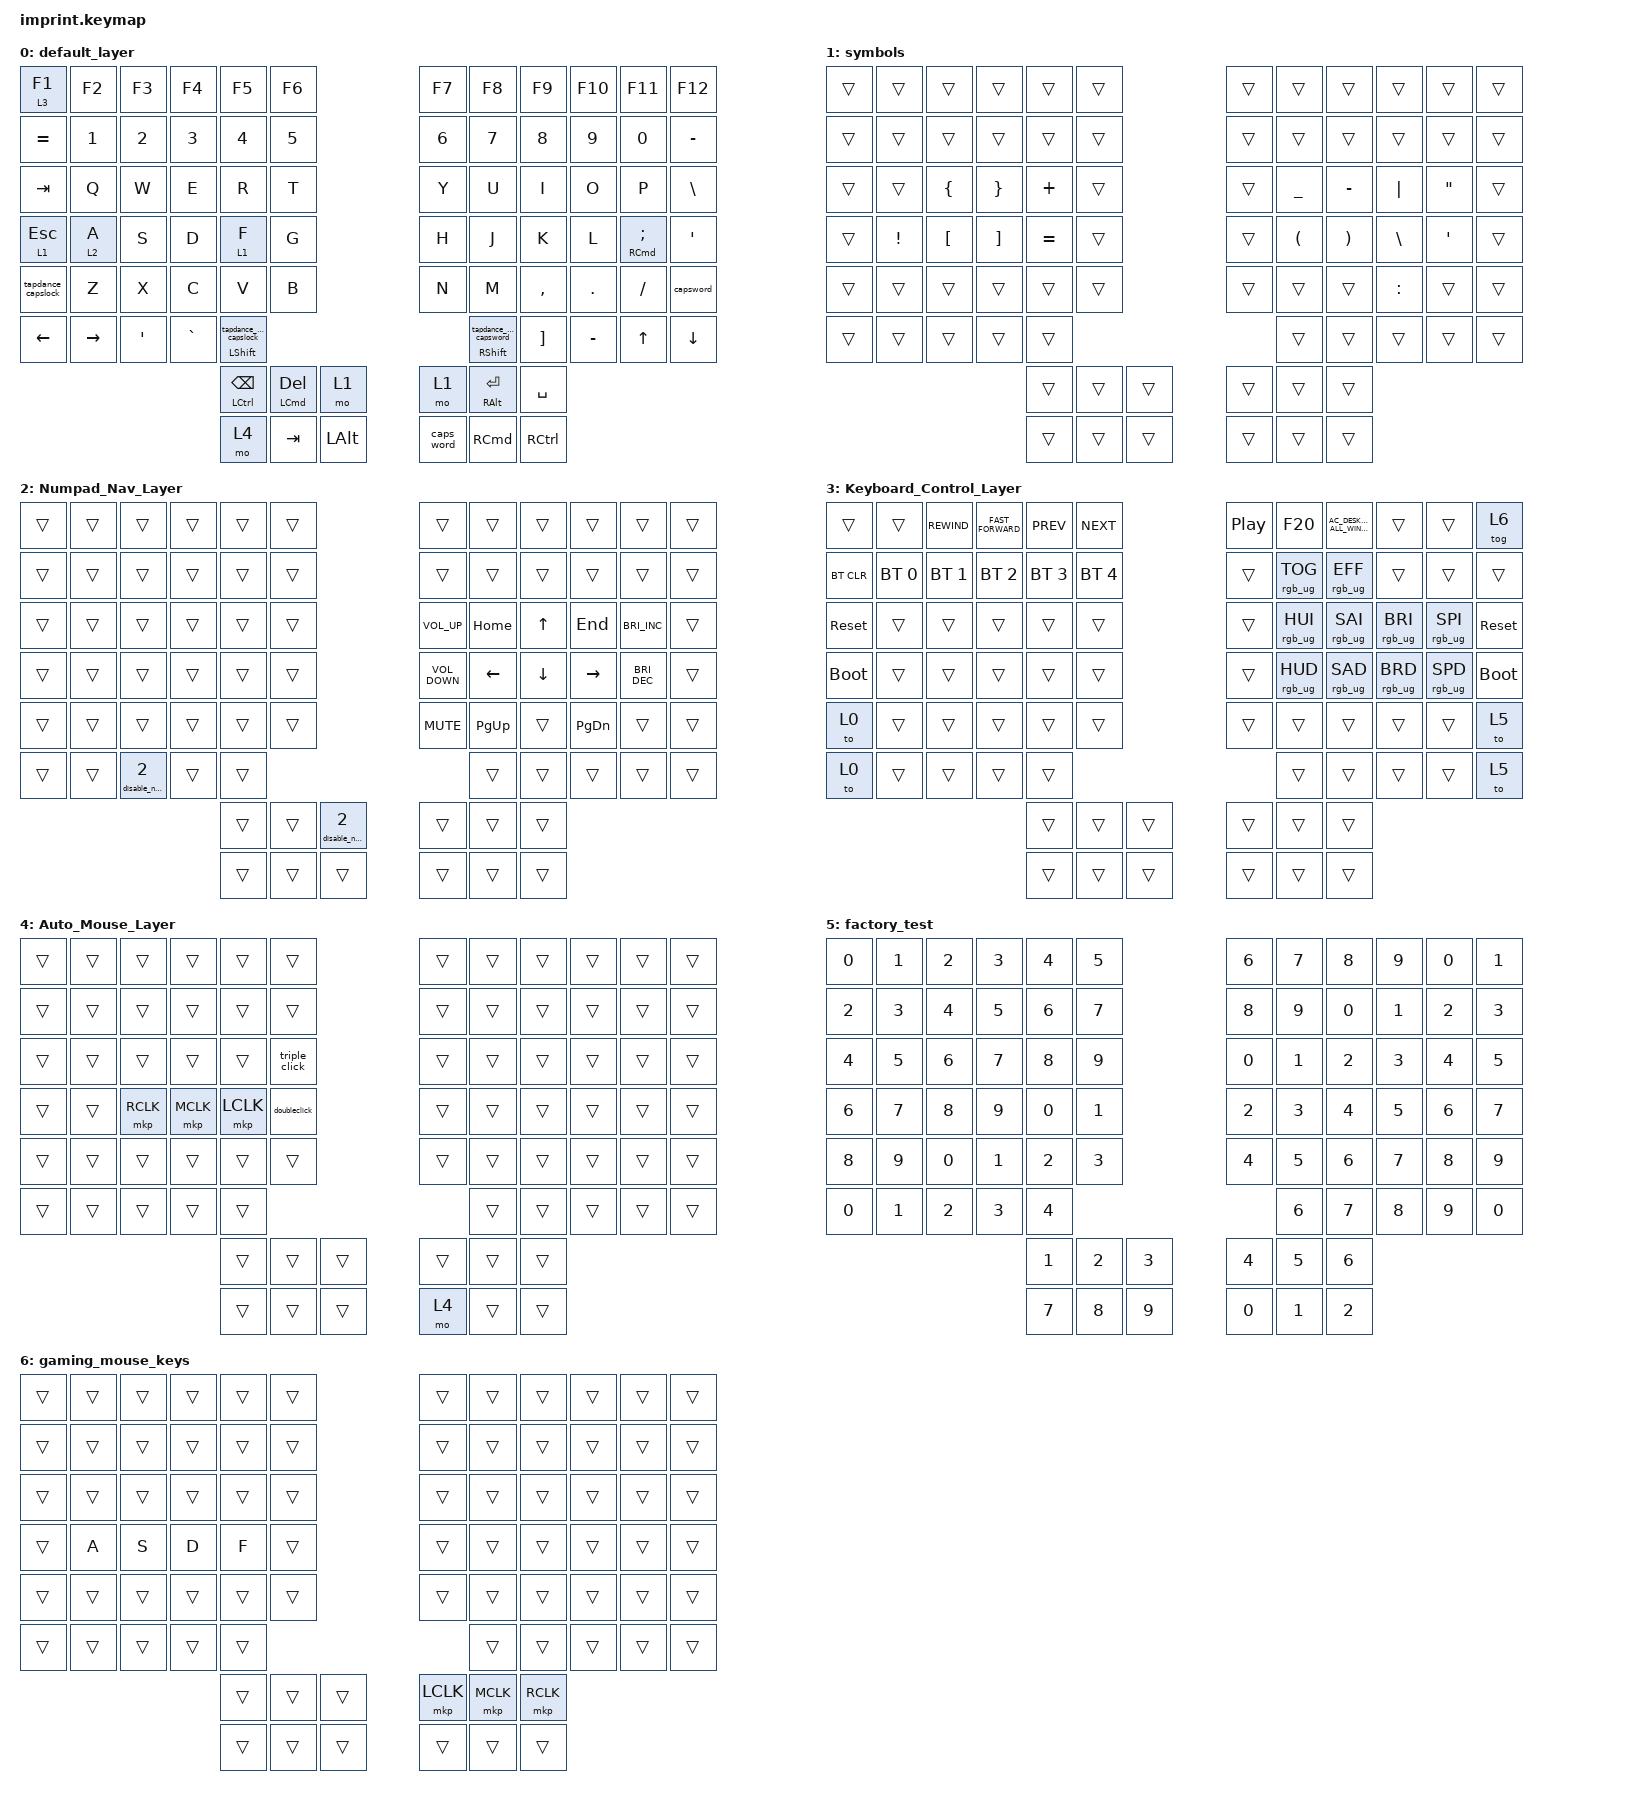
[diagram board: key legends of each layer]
#include <input/processors.dtsi>
#include <dt-bindings/zmk/input_transform.h>
#include <behaviors.dtsi>
#include <dt-bindings/zmk/bt.h>
#include <dt-bindings/zmk/keys.h>
#include <dt-bindings/zmk/pointing.h>
#include <dt-bindings/zmk/rgb.h>

/ {
    chosen { zmk,matrix-transform = &imprint_function_row_full_bottom_row; };

    behaviors {
        capsword: capsword {
            compatible = "zmk,behavior-tap-dance";
            label = "CAPSWORD";
            #binding-cells = <0>;
            bindings = <&kp LEFT_SHIFT>, <&caps_word>;
        };

        disable_numpad: disable_numpad {
            compatible = "zmk,behavior-toggle-layer";
            label = "DISABLE_NUMPAD";
            #binding-cells = <1>;
            toggle-mode = "off";
        };

        tapdance_capslock: tapdance_capslock {
            compatible = "zmk,behavior-tap-dance";
            label = "TAPDANCE_CAPSLOCK";
            #binding-cells = <0>;
            bindings = <&kp LEFT_SHIFT>, <&kp CAPSLOCK>;
        };

        equals_capslock: equals_capslock {
            compatible = "zmk,behavior-tap-dance";
            label = "EQUALS_CAPSLOCK";
            #binding-cells = <0>;
            bindings = <&mt LEFT_SHIFT EQUAL>, <&kp CAPSLOCK>;
        };

        bracket_capsword: bracket_capsword {
            compatible = "zmk,behavior-tap-dance";
            label = "BRACKET_CAPSWORD";
            #binding-cells = <0>;
            bindings = <&mt RIGHT_SHIFT LEFT_BRACKET>, <&caps_word>;
        };

        mod_tap_repeat: mod_tap_repeat {
            compatible = "zmk,behavior-hold-tap";
            label = "MOD_TAP_REPEAT";
            bindings = <&kp>, <&kp>;

            #binding-cells = <2>;
            tapping-term-ms = <150>;
            flavor = "balanced";
            quick-tap-ms = <150>;
        };

        tapdance_bracket_capsword: tapdance_bracket_capsword {
            compatible = "zmk,behavior-tap-dance";
            label = "TAPDANCE_BRACKET_CAPSWORD";
            #binding-cells = <0>;
            bindings = <&kp LEFT_BRACKET>, <&caps_word>;
        };

        tapdance_equals_capslock: tapdance_equals_capslock {
            compatible = "zmk,behavior-tap-dance";
            label = "TAPDANCE_EQUALS_CAPSLOCK";
            #binding-cells = <0>;
            bindings = <&kp EQUAL>, <&kp CAPSLOCK>;
        };

        ht_bracket_capsword: ht_bracket_capsword {
            compatible = "zmk,behavior-hold-tap";
            label = "HT_BRACKET_CAPSWORD";
            bindings = <&kp>, <&tapdance_bracket_capsword>;

            #binding-cells = <2>;
            tapping-term-ms = <200>;
        };

        ht_equals_capslock: ht_equals_capslock {
            compatible = "zmk,behavior-hold-tap";
            label = "HT_EQUALS_CAPSLOCK";
            bindings = <&kp>, <&tapdance_equals_capslock>;

            #binding-cells = <2>;
            tapping-term-ms = <200>;
        };
    };

    macros {
        doubleclick: doubleclick {
            compatible = "zmk,behavior-macro";
            #binding-cells = <0>;
            bindings = <&mkp MB1>, <&macro_wait_time 100>, <&mkp MB1>;

            label = "DOUBLECLICK";
        };

        triple_click: triple_click {
            compatible = "zmk,behavior-macro";
            #binding-cells = <0>;
            bindings =
                <&mkp MB1>,
                <&macro_wait_time 100>,
                <&mkp MB1>,
                <&macro_wait_time 100>,
                <&mkp MB1>;

            label = "TRIPLE_CLICK";
        };
    };

    keymap {
        compatible = "zmk,keymap";

        default_layer {
            bindings = <
&lt 3 F1            &kp F2     &kp F3   &kp F4     &kp F5                                  &kp F6                                               &kp F7      &kp F8                              &kp F9             &kp F10    &kp F11                                  &kp F12
&kp EQUAL           &kp N1     &kp N2   &kp N3     &kp N4                                  &kp N5                                               &kp N6      &kp N7                              &kp N8             &kp N9     &kp N0                                   &kp MINUS
&kp TAB             &kp Q      &kp W    &kp E      &kp R                                   &kp T                                                &kp Y       &kp U                               &kp I              &kp O      &kp P                                    &kp BSLH
&lt 1 ESC           &lt 2 A    &kp S    &kp D      &lt 1 F                                 &kp G                                                &kp H       &kp J                               &kp K              &kp L      &mod_tap_repeat RIGHT_COMMAND SEMICOLON  &kp SQT
&tapdance_capslock  &kp Z      &kp X    &kp C      &kp V                                   &kp B                                                &kp N       &kp M                               &kp COMMA          &kp DOT    &kp FSLH                                 &capsword
&kp LEFT            &kp RIGHT  &kp SQT  &kp GRAVE  &ht_equals_capslock LEFT_SHIFT 0                                                                         &ht_bracket_capsword RIGHT_SHIFT 0  &kp RIGHT_BRACKET  &kp MINUS  &kp UP_ARROW                             &kp DOWN
                                                   &mod_tap_repeat LEFT_CONTROL BACKSPACE  &mod_tap_repeat LEFT_COMMAND DELETE  &mo 1           &mo 1       &mod_tap_repeat RIGHT_ALT RETURN    &kp SPACE
                                                   &mo 4                                   &kp TAB                              &kp LEFT_ALT    &caps_word  &kp RIGHT_COMMAND                   &kp RIGHT_CONTROL
            >;
        };

        symbols {
            bindings = <
&trans  &trans           &trans            &trans             &trans     &trans            &trans  &trans                &trans                 &trans         &trans             &trans
&trans  &trans           &trans            &trans             &trans     &trans            &trans  &trans                &trans                 &trans         &trans             &trans
&trans  &trans           &kp LEFT_BRACE    &kp RIGHT_BRACE    &kp PLUS   &trans            &trans  &kp UNDERSCORE        &kp MINUS              &kp PIPE       &kp DOUBLE_QUOTES  &trans
&trans  &kp EXCLAMATION  &kp LEFT_BRACKET  &kp RIGHT_BRACKET  &kp EQUAL  &trans            &trans  &kp LEFT_PARENTHESIS  &kp RIGHT_PARENTHESIS  &kp BACKSLASH  &kp SQT            &trans
&trans  &trans           &trans            &trans             &trans     &trans            &trans  &trans                &trans                 &kp COLON      &trans             &trans
&trans  &trans           &trans            &trans             &trans                               &trans                &trans                 &trans         &trans             &trans
                                                              &trans     &trans  &trans    &trans  &trans                &trans
                                                              &trans     &trans  &trans    &trans  &trans                &trans
            >;
        };

        Numpad_Nav_Layer {
            bindings = <
&trans  &trans  &trans             &trans  &trans  &trans                       &trans             &trans       &trans    &trans         &trans                &trans
&trans  &trans  &trans             &trans  &trans  &trans                       &trans             &trans       &trans    &trans         &trans                &trans
&trans  &trans  &trans             &trans  &trans  &trans                       &kp C_VOLUME_UP    &kp HOME     &kp UP    &kp END        &kp C_BRIGHTNESS_INC  &trans
&trans  &trans  &trans             &trans  &trans  &trans                       &kp C_VOLUME_DOWN  &kp LEFT     &kp DOWN  &kp RIGHT      &kp C_BRIGHTNESS_DEC  &trans
&trans  &trans  &trans             &trans  &trans  &trans                       &kp C_MUTE         &kp PAGE_UP  &trans    &kp PAGE_DOWN  &trans                &trans
&trans  &trans  &disable_numpad 2  &trans  &trans                                                  &trans       &trans    &trans         &trans                &trans
                                           &trans  &trans  &disable_numpad 2    &trans             &trans       &trans
                                           &trans  &trans  &trans               &trans             &trans       &trans
            >;
        };

        Keyboard_Control_Layer {
            bindings = <
&trans       &trans        &kp C_REWIND  &kp C_FAST_FORWARD  &kp C_PREV    &kp C_NEXT              &kp C_PLAY_PAUSE  &kp F20          &kp C_AC_DESKTOP_SHOW_ALL_WINDOWS  &trans           &trans           &tog 6
&bt BT_CLR   &bt BT_SEL 0  &bt BT_SEL 1  &bt BT_SEL 2        &bt BT_SEL 3  &bt BT_SEL 4            &trans            &rgb_ug RGB_TOG  &rgb_ug RGB_EFF                    &trans           &trans           &trans
&sys_reset   &trans        &trans        &trans              &trans        &trans                  &trans            &rgb_ug RGB_HUI  &rgb_ug RGB_SAI                    &rgb_ug RGB_BRI  &rgb_ug RGB_SPI  &sys_reset
&bootloader  &trans        &trans        &trans              &trans        &trans                  &trans            &rgb_ug RGB_HUD  &rgb_ug RGB_SAD                    &rgb_ug RGB_BRD  &rgb_ug RGB_SPD  &bootloader
&to 0        &trans        &trans        &trans              &trans        &trans                  &trans            &trans           &trans                             &trans           &trans           &to 5
&to 0        &trans        &trans        &trans              &trans                                                  &trans           &trans                             &trans           &trans           &to 5
                                                             &trans        &trans        &trans    &trans            &trans           &trans
                                                             &trans        &trans        &trans    &trans            &trans           &trans
            >;
        };

        Auto_Mouse_Layer {
            bindings = <
&trans  &trans  &trans     &trans     &trans     &trans                   &trans  &trans  &trans  &trans  &trans  &trans
&trans  &trans  &trans     &trans     &trans     &trans                   &trans  &trans  &trans  &trans  &trans  &trans
&trans  &trans  &trans     &trans     &trans     &triple_click            &trans  &trans  &trans  &trans  &trans  &trans
&trans  &trans  &mkp RCLK  &mkp MCLK  &mkp LCLK  &doubleclick             &trans  &trans  &trans  &trans  &trans  &trans
&trans  &trans  &trans     &trans     &trans     &trans                   &trans  &trans  &trans  &trans  &trans  &trans
&trans  &trans  &trans     &trans     &trans                                      &trans  &trans  &trans  &trans  &trans
                                      &trans     &trans         &trans    &trans  &trans  &trans
                                      &trans     &trans         &trans    &mo 4   &trans  &trans
            >;
        };

        factory_test {
            bindings = <
&kp N0  &kp N1  &kp N2  &kp N3  &kp N4  &kp N5            &kp N6  &kp N7  &kp N8  &kp N9  &kp N0  &kp N1
&kp N2  &kp N3  &kp N4  &kp N5  &kp N6  &kp N7            &kp N8  &kp N9  &kp N0  &kp N1  &kp N2  &kp N3
&kp N4  &kp N5  &kp N6  &kp N7  &kp N8  &kp N9            &kp N0  &kp N1  &kp N2  &kp N3  &kp N4  &kp N5
&kp N6  &kp N7  &kp N8  &kp N9  &kp N0  &kp N1            &kp N2  &kp N3  &kp N4  &kp N5  &kp N6  &kp N7
&kp N8  &kp N9  &kp N0  &kp N1  &kp N2  &kp N3            &kp N4  &kp N5  &kp N6  &kp N7  &kp N8  &kp N9
&kp N0  &kp N1  &kp N2  &kp N3  &kp N4                            &kp N6  &kp N7  &kp N8  &kp N9  &kp N0
                                &kp N1  &kp N2  &kp N3    &kp N4  &kp N5  &kp N6
                                &kp N7  &kp N8  &kp N9    &kp N0  &kp N1  &kp N2
            >;
        };

        gaming_mouse_keys {
            bindings = <
&trans  &trans  &trans  &trans  &trans  &trans            &trans     &trans     &trans     &trans  &trans  &trans
&trans  &trans  &trans  &trans  &trans  &trans            &trans     &trans     &trans     &trans  &trans  &trans
&trans  &trans  &trans  &trans  &trans  &trans            &trans     &trans     &trans     &trans  &trans  &trans
&trans  &kp A   &kp S   &kp D   &kp F   &trans            &trans     &trans     &trans     &trans  &trans  &trans
&trans  &trans  &trans  &trans  &trans  &trans            &trans     &trans     &trans     &trans  &trans  &trans
&trans  &trans  &trans  &trans  &trans                               &trans     &trans     &trans  &trans  &trans
                                &trans  &trans  &trans    &mkp LCLK  &mkp MCLK  &mkp RCLK
                                &trans  &trans  &trans    &trans     &trans     &trans
            >;
        };
    };
};

//right hand trackball configuration
// &trackball_peripheral_listener { input-processors = <&zip_temp_layer 4 300>; };
//left hand trackball configuration

&trackball_central_listener {
    input-processors =
        // multiply sensitivity by 1, divide by 3 (make it slower for scrolling),,,,,
        <&zip_xy_scaler 1 16>,
        // make this trackball output scrolling events by default instead of cursor movement,,,,,
        <&zip_xy_to_scroll_mapper>,
        // invert vertical scrolling so that the view moves in the same direction as the top of the trackball.,,,,,
        <&zip_scroll_transform INPUT_TRANSFORM_Y_INVERT>;
};
